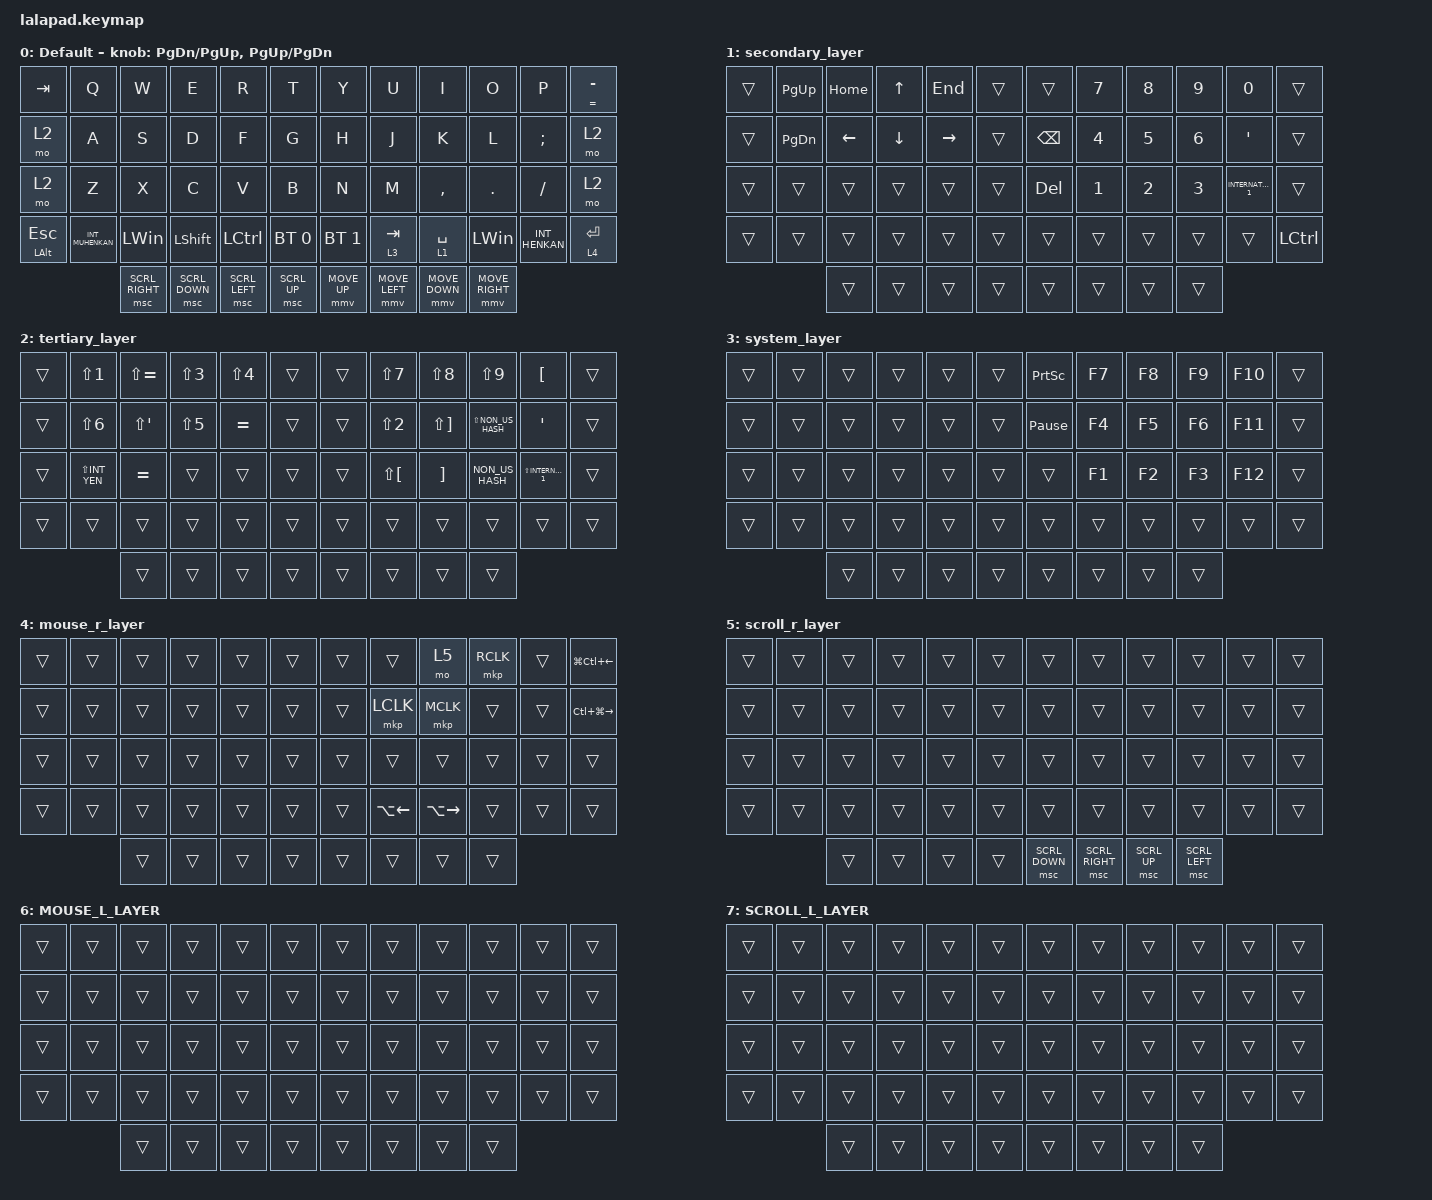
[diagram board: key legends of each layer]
#include <input/processors.dtsi>
#include <behaviors.dtsi>
#include <dt-bindings/zmk/bt.h>
#include <dt-bindings/zmk/keys.h>
#include <dt-bindings/zmk/pointing.h>

#define DEFAULT_LAYER   0
#define SECONDARY_LAYER 1
#define TERTIARY_LAYER  2
#define SYSTEM_LAYER    3
#define MOUSE_R_LAYER   4
#define SCROLL_R_LAYER  5
#define MOUSE_L_LAYER   6
#define SCROLL_L_LAYER  7

// Mouse Scroll Value

#define ZMK_POINTING_DEFAULT_SCRL_VAL 100

// cirque trackpad input&layer control

&glidepoint_listener_R {
    input-processors =
        <&zip_xy_transform (INPUT_TRANSFORM_XY_SWAP | INPUT_TRANSFORM_X_INVERT | INPUT_TRANSFORM_Y_INVERT)>,
        <&zip_xy_scaler 3 2>,
        <&zip_temp_layer MOUSE_R_LAYER 500>;

    lowspeedmode {
        layers = <SECONDARY_LAYER>;
        input-processors =
            <&zip_xy_transform (INPUT_TRANSFORM_XY_SWAP | INPUT_TRANSFORM_X_INVERT | INPUT_TRANSFORM_Y_INVERT)>,
            <&zip_xy_scaler 3 5>,
            <&zip_temp_layer MOUSE_R_LAYER 500>;
    };

    scroller {
        layers = <SCROLL_R_LAYER>;
        input-processors =
            <&zip_xy_to_scroll_mapper>,
            <&zip_scroll_transform (INPUT_TRANSFORM_XY_SWAP | INPUT_TRANSFORM_Y_INVERT)>,
            <&zip_scroll_scaler 1 8>;
    };
};

&glidepoint_listener_L {
    input-processors =
        <&zip_xy_transform (INPUT_TRANSFORM_XY_SWAP | INPUT_TRANSFORM_X_INVERT | INPUT_TRANSFORM_Y_INVERT)>,
        <&zip_xy_scaler 3 2>,
        <&zip_temp_layer MOUSE_L_LAYER 500>;

    lowspeedmode {
        layers = <SECONDARY_LAYER>;
        input-processors =
            <&zip_xy_transform (INPUT_TRANSFORM_XY_SWAP | INPUT_TRANSFORM_X_INVERT | INPUT_TRANSFORM_Y_INVERT)>,
            <&zip_xy_scaler 3 4>,
            <&zip_temp_layer MOUSE_L_LAYER 500>;
    };

    scroller {
        layers = <SCROLL_L_LAYER>;
        input-processors =
            <&zip_xy_to_scroll_mapper>,
            <&zip_scroll_transform (INPUT_TRANSFORM_XY_SWAP | INPUT_TRANSFORM_Y_INVERT)>,
            <&zip_scroll_scaler 1 6>;
    };
};

/ {
    behaviors {
        // Encoder to Mouse Scroll

        scroll_up_down: sensor_scroll_up_down {
            compatible = "zmk,behavior-sensor-rotate";
            #sensor-binding-cells = <0>;
            bindings = <&msc SCRL_UP>, <&msc SCRL_DOWN>;

            tap-ms = <20>;
            label = "SCROLL_UP_DOWN";
        };

        scroll_down_up: sensor_scroll_down_up {
            compatible = "zmk,behavior-sensor-rotate";
            #sensor-binding-cells = <0>;
            bindings = <&msc SCRL_DOWN>, <&msc SCRL_UP>;

            tap-ms = <20>;
            label = "SCROLL_DOWN_UP";
        };

        scroll_left_right: sensor_scroll_left_right {
            compatible = "zmk,behavior-sensor-rotate";
            #sensor-binding-cells = <0>;
            bindings = <&msc SCRL_LEFT>, <&msc SCRL_RIGHT>;

            tap-ms = <20>;
            label = "SCROLL_LEFT_RIGHT";
        };

        scroll_right_left: sensor_scroll_right_left {
            compatible = "zmk,behavior-sensor-rotate";
            #sensor-binding-cells = <0>;
            bindings = <&msc SCRL_RIGHT>, <&msc SCRL_LEFT>;

            tap-ms = <20>;
            label = "SCROLL_RIGHT_LEFT";
        };

        volume_up_down: sensor_volume_up_down {
            compatible = "zmk,behavior-sensor-rotate";
            #sensor-binding-cells = <0>;
            bindings = <&kp C_VOLUME_UP>, <&kp C_VOLUME_DOWN>;

            tap-ms = <20>;
            label = "VOLUME_UP_DOWN";
        };

        dot_comma: dot_comma {
            compatible = "zmk,behavior-mod-morph";
            #binding-cells = <0>;
            bindings = <&kp KP_DOT>, <&kp COMMA>;

            mods = <(MOD_LSFT|MOD_RSFT)>;
            label = "DOT_COMMA";
        };

        pls_minus: pls_minus {
            compatible = "zmk,behavior-mod-morph";
            #binding-cells = <0>;
            bindings = <&kp PLUS>, <&kp MINUS>;

            mods = <(MOD_LSFT|MOD_RSFT)>;
            label = "PLS_MINUS";
        };

        allow_pageup: allow_pageup {
            compatible = "zmk,behavior-mod-morph";
            #binding-cells = <0>;
            bindings = <&kp UP>, <&kp PAGE_UP>;

            mods = <(MOD_LCTL|MOD_RCTL)>;
            label = "ALLOW_PAGEUP";
        };

        allow_pagedown: allow_pagedown {
            compatible = "zmk,behavior-mod-morph";
            #binding-cells = <0>;
            bindings = <&kp DOWN>, <&kp PAGE_DOWN>;

            mods = <(MOD_LCTL|MOD_RCTL)>;
            label = "ALLOW_PAGEDOWN";
        };

        allow_home: allow_home {
            compatible = "zmk,behavior-mod-morph";
            #binding-cells = <0>;
            bindings = <&kp LEFT>, <&kp HOME>;

            mods = <(MOD_LCTL|MOD_RCTL)>;
            label = "ALLOW_HOME";
        };

        allow_end: allow_end {
            compatible = "zmk,behavior-mod-morph";
            #binding-cells = <0>;
            bindings = <&kp RIGHT>, <&kp END>;

            mods = <(MOD_LCTL|MOD_RCTL)>;
            label = "ALLOW_END";
        };

        mt2: mod_tap2 {
            compatible = "zmk,behavior-hold-tap";
            #binding-cells = <2>;
            flavor = "tap-preferred";
            tapping-term-ms = <200>;
            quick-tap-ms = <200>;
            require-prior-idle-ms = <125>;
            bindings = <&kp>, <&kp>;
        };
    };

    keymap {
        compatible = "zmk,keymap";

        DEFAULT_LAYER {
            display-name = "Default";
            sensor-bindings =
                <&inc_dec_kp PAGE_DOWN PAGE_UP>,
                <&inc_dec_kp PAGE_UP PAGE_DOWN>;

            bindings = <
&kp TAB              &kp Q             &kp W            &kp E           &kp R           &kp T         &kp Y         &kp U           &kp I           &kp O            &kp P           &mt EQUAL MINUS
&mo 2                &kp A             &kp S            &kp D           &kp F           &kp G         &kp H         &kp J           &kp K           &kp L            &kp SEMI        &mo 2
&mo 2                &kp Z             &kp X            &kp C           &kp V           &kp B         &kp N         &kp M           &kp COMMA       &kp PERIOD       &kp SLASH       &mo 2
&mt LEFT_ALT ESCAPE  &kp INT_MUHENKAN  &kp LEFT_WIN     &kp LEFT_SHIFT  &kp LCTRL       &bt BT_SEL 0  &bt BT_SEL 1  &lt 3 TAB       &lt 1 SPACE     &kp LEFT_WIN     &kp INT_HENKAN  &lt 4 ENTER
                                       &msc SCRL_RIGHT  &msc SCRL_DOWN  &msc SCRL_LEFT  &msc SCRL_UP  &mmv MOVE_UP  &mmv MOVE_LEFT  &mmv MOVE_DOWN  &mmv MOVE_RIGHT
            >;
        };

        SECONDARY_LAYER {
            display-name = "secondary_layer";
            bindings = <
&trans  &kp PAGE_UP    &kp HOME        &kp UP_ARROW    &kp END          &trans  &trans         &kp NUMBER_7  &kp NUMBER_8  &kp NUMBER_9  &kp NUMBER_0         &trans
&trans  &kp PAGE_DOWN  &kp LEFT_ARROW  &kp DOWN_ARROW  &kp RIGHT_ARROW  &trans  &kp BACKSPACE  &kp NUMBER_4  &kp N5        &kp NUMBER_6  &kp SINGLE_QUOTE     &trans
&trans  &trans         &trans          &trans          &trans           &trans  &kp DELETE     &kp N1        &kp NUMBER_2  &kp N3        &kp INTERNATIONAL_1  &trans
&trans  &trans         &trans          &trans          &trans           &trans  &trans         &trans        &trans        &trans        &trans               &kp LEFT_CONTROL
                       &trans          &trans          &trans           &trans  &trans         &trans        &trans        &trans
            >;
        };

        TERTIARY_LAYER {
            display-name = "tertiary_layer";
            bindings = <
&trans  &kp LS(N1)        &kp LS(EQUAL)         &kp LS(NUMBER_3)  &kp LS(NUMBER_4)  &trans  &trans  &kp LS(N7)            &kp LS(N8)             &kp LS(N9)           &kp LEFT_BRACKET         &trans
&trans  &kp LS(NUMBER_6)  &kp LS(SINGLE_QUOTE)  &kp LS(N5)        &kp EQUAL         &trans  &trans  &kp LS(N2)            &kp LS(RIGHT_BRACKET)  &kp LS(NON_US_HASH)  &kp SINGLE_QUOTE         &trans
&trans  &kp LS(INT_YEN)   &kp EQUAL             &trans            &trans            &trans  &trans  &kp LS(LEFT_BRACKET)  &kp RIGHT_BRACKET      &kp NON_US_HASH      &kp LS(INTERNATIONAL_1)  &trans
&trans  &trans            &trans                &trans            &trans            &trans  &trans  &trans                &trans                 &trans               &trans                   &trans
                          &trans                &trans            &trans            &trans  &trans  &trans                &trans                 &trans
            >;
        };

        SYSTEM_LAYER {
            display-name = "system_layer";
            bindings = <
&trans  &trans  &trans  &trans  &trans  &trans  &kp PRINTSCREEN  &kp F7  &kp F8  &kp F9  &kp F10  &trans
&trans  &trans  &trans  &trans  &trans  &trans  &kp PAUSE_BREAK  &kp F4  &kp F5  &kp F6  &kp F11  &trans
&trans  &trans  &trans  &trans  &trans  &trans  &trans           &kp F1  &kp F2  &kp F3  &kp F12  &trans
&trans  &trans  &trans  &trans  &trans  &trans  &trans           &trans  &trans  &trans  &trans   &trans
                &trans  &trans  &trans  &trans  &trans           &trans  &trans  &trans
            >;
        };

        MOUSE_R_LAYER {
            display-name = "mouse_r_layer";
            bindings = <
&trans  &trans  &trans  &trans  &trans  &trans  &trans  &trans        &mo 5          &mkp RCLK  &trans  &kp LG(LC(LEFT_ARROW))
&trans  &trans  &trans  &trans  &trans  &trans  &trans  &mkp LCLK     &mkp MCLK      &trans     &trans  &kp LC(LG(RIGHT))
&trans  &trans  &trans  &trans  &trans  &trans  &trans  &trans        &trans         &trans     &trans  &trans
&trans  &trans  &trans  &trans  &trans  &trans  &trans  &kp LA(LEFT)  &kp LA(RIGHT)  &trans     &trans  &trans
                &trans  &trans  &trans  &trans  &trans  &trans        &trans         &trans
            >;
        };

        SCROLL_R_LAYER {
            display-name = "scroll_r_layer";
            bindings = <
&trans  &trans  &trans  &trans  &trans  &trans  &trans          &trans           &trans        &trans          &trans  &trans
&trans  &trans  &trans  &trans  &trans  &trans  &trans          &trans           &trans        &trans          &trans  &trans
&trans  &trans  &trans  &trans  &trans  &trans  &trans          &trans           &trans        &trans          &trans  &trans
&trans  &trans  &trans  &trans  &trans  &trans  &trans          &trans           &trans        &trans          &trans  &trans
                &trans  &trans  &trans  &trans  &msc SCRL_DOWN  &msc SCRL_RIGHT  &msc SCRL_UP  &msc SCRL_LEFT
            >;
        };

        MOUSE_L_LAYER {
            bindings = <
&trans  &trans  &trans  &trans  &trans  &trans  &trans  &trans  &trans  &trans  &trans  &trans
&trans  &trans  &trans  &trans  &trans  &trans  &trans  &trans  &trans  &trans  &trans  &trans
&trans  &trans  &trans  &trans  &trans  &trans  &trans  &trans  &trans  &trans  &trans  &trans
&trans  &trans  &trans  &trans  &trans  &trans  &trans  &trans  &trans  &trans  &trans  &trans
                &trans  &trans  &trans  &trans  &trans  &trans  &trans  &trans
            >;
        };

        SCROLL_L_LAYER {
            bindings = <
&trans  &trans  &trans  &trans  &trans  &trans  &trans  &trans  &trans  &trans  &trans  &trans
&trans  &trans  &trans  &trans  &trans  &trans  &trans  &trans  &trans  &trans  &trans  &trans
&trans  &trans  &trans  &trans  &trans  &trans  &trans  &trans  &trans  &trans  &trans  &trans
&trans  &trans  &trans  &trans  &trans  &trans  &trans  &trans  &trans  &trans  &trans  &trans
                &trans  &trans  &trans  &trans  &trans  &trans  &trans  &trans
            >;
        };
    };
};
